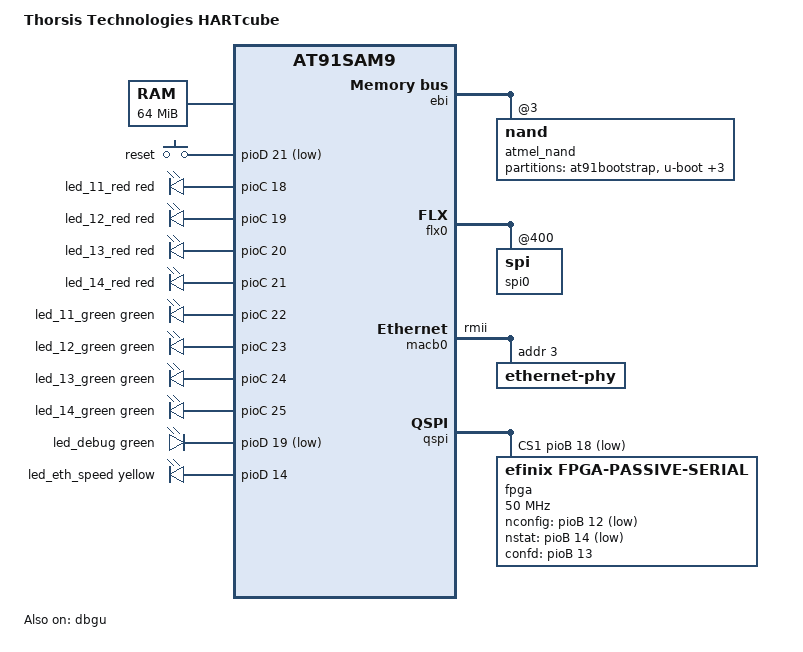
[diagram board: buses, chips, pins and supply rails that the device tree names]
/*
 * at91-hartcube.dts - Device Tree file for Thorsis Technologies HARTcube board
 *
 * © 2024 Thorsis Technologies GmbH
 */
/dts-v1/;
#include <dt-bindings/input/input.h>
#include <dt-bindings/leds/common.h>
#include <dt-bindings/mfd/atmel-flexcom.h>
#include <dt-bindings/pinctrl/at91.h>
#include <efinix.h>
#include "sam9x60.dtsi"

/ {
	model = "Thorsis Technologies HARTcube";
	compatible = "thorsis,hartcube", "microchip,sam9x60", "atmel,at91sam9";

	aliases {
		spi0 = &spi0;
		spi1 = &qspi;
	};

	chosen {
		stdout-path = &dbgu;
	};

	memory {
		reg = <0x20000000 0x04000000>;
	};

	clocks {
		slow_xtal: slow_xtal {
			clock-frequency = <32768>;
		};

		main_xtal: main_xtal {
			clock-frequency = <24000000>;
		};
	};

	gpio-keys {
		compatible = "gpio-keys";
		status = "okay";

		pinctrl-names = "default";
		pinctrl-0 = <&pinctrl_key_gpio_default>;

		reset {
			label = "reset";
			gpios = <&pioD 21 GPIO_ACTIVE_LOW>;
			linux,code = <KEY_RESTART>;
			debounce-interval = <60>;
		};
	};

	led-controller-0 {
		compatible = "gpio-leds";
		status = "okay";

		pinctrl-names = "default";
		pinctrl-0 = <&pinctrl_gpio_leds>;

		/*
		 * Four dual color (red/green) LEDs.
		 *
		 * NOTE	If you switch ON both colors of the same LED,
		 *	it will go off. We're just misusing the
		 *	gpio-leds driver here for simplicity.
		 */

		/*
		 * (this led could use pwm, but we use it as simple gpio-led in u-boot only.)
		 */
		led_11_red: led-0 {
			function = LED_FUNCTION_STATUS;
			color = <LED_COLOR_ID_RED>;
			gpios = <&pioC 18 GPIO_ACTIVE_HIGH>;
		};

		/*
		 * (this led could use pwm, but we use it as simple gpio-led in u-boot only.)
		 */
		led_12_red: led-1 {
			color = <LED_COLOR_ID_RED>;
			gpios = <&pioC 19 GPIO_ACTIVE_HIGH>;
		};

		/*
		 * (this led could use pwm, but we use it as simple gpio-led in u-boot only.)
		 */
		led_13_red: led-2 {
			color = <LED_COLOR_ID_RED>;
			gpios = <&pioC 20 GPIO_ACTIVE_HIGH>;
		};

		/*
		 * (this led could use pwm, but we use it as simple gpio-led in u-boot only.)
		 */
		led_14_red: led-3 {
			color = <LED_COLOR_ID_RED>;
			gpios = <&pioC 21 GPIO_ACTIVE_HIGH>;
		};

		led_11_green: led-4 {
			function = LED_FUNCTION_STATUS;
			color = <LED_COLOR_ID_GREEN>;
			gpios = <&pioC 22 GPIO_ACTIVE_HIGH>;
		};

		led_12_green: led-5 {
			color = <LED_COLOR_ID_GREEN>;
			gpios = <&pioC 23 GPIO_ACTIVE_HIGH>;
		};

		led_13_green: led-6 {
			color = <LED_COLOR_ID_GREEN>;
			gpios = <&pioC 24 GPIO_ACTIVE_HIGH>;
		};

		led_14_green: led-7 {
			color = <LED_COLOR_ID_GREEN>;
			gpios = <&pioC 25 GPIO_ACTIVE_HIGH>;
		};

		/*
		 * maybe not populated on PCB
		 */
		led_debug: led-8 {
			color = <LED_COLOR_ID_GREEN>;
			function = LED_FUNCTION_DEBUG;
			gpios = <&pioD 19 GPIO_ACTIVE_LOW>;
			default-state = "keep";
		};

		led_eth_speed: led-9 {
			color = <LED_COLOR_ID_YELLOW>;
			function = LED_FUNCTION_LAN;
			gpios = <&pioD 14 GPIO_ACTIVE_HIGH>;
			linux,default-trigger = "netdev";
		};
	};

	spi_gpio_flx0: spi-gpio-0 {
		pinctrl-names = "default";
		pinctrl-0 = <&pinctrl_flx0_gpio>;
		status = "disabled";

		compatible = "spi-gpio";
		#address-cells = <1>;
		#size-cells = <0>;

		sck-gpios = <&pioA 4 GPIO_ACTIVE_HIGH>;
		mosi-gpios = <&pioA 1 GPIO_ACTIVE_HIGH>;
		miso-gpios = <&pioA 0 GPIO_ACTIVE_HIGH>;
		cs-gpios = <&pioA 3 GPIO_ACTIVE_LOW>;
		num-cs = <1>;

		flash@0 {
			compatible = "jedec,spi-nor";
			reg = <0>;
			spi-max-frequency = <50000000>;
			spi-tx-bus-width = <1>;
			spi-rx-bus-width = <1>;
			m25p,fast-read;
		};
	};

	spi_gpio_qspi: spi-gpio-1 {
		pinctrl-names = "default";
		pinctrl-0 = <&pinctrl_qspi_gpio>;
		status = "disabled";

		compatible = "spi-gpio";
		#address-cells = <1>;
		#size-cells = <0>;

		sck-gpios = <&pioB 19 GPIO_ACTIVE_HIGH>;
		mosi-gpios = <&pioB 21 GPIO_ACTIVE_HIGH>;
		miso-gpios = <&pioB 22 GPIO_ACTIVE_HIGH>;
		cs-gpios = <&pioB 20 GPIO_ACTIVE_LOW>, <&pioB 18 GPIO_ACTIVE_LOW>;
		num-cs = <2>;

		fpga@0 {
			compatible = "thorsis,fpga-hcb";
			reg = <0>;
			status = "disabled";

			spi-max-frequency = <1000000>;
			spi-cs-setup-delay-ns = <500>;		// halbe Taktperiode
			spi-cs-inactive-delay-ns = <1000>;	// ganze Taktperiode
			spi-tx-bus-width = <1>;
			spi-rx-bus-width = <1>;
		};

		fpga@1 {
			pinctrl-names = "default";
			pinctrl-0 = <&pinctrl_fpga>;
			status = "okay";

			compatible = "efinix,fpga-passive-serial";
			reg = <1>;

			spi-max-frequency = <50000000>;
			spi-cpha;
			spi-cpol;
			nconfig-gpios = <&pioB 12 GPIO_ACTIVE_LOW>;
			nstat-gpios = <&pioB 14 GPIO_ACTIVE_LOW>;
			confd-gpios = <&pioB 13 GPIO_ACTIVE_HIGH>;
			altr,size = <EFINIX_TRION_T20Q144_SIZE>;
		};
	};
};

&dbgu {
	pinctrl-names = "default";
	pinctrl-0 = <&pinctrl_dbgu>;
	status = "okay"; /* Conflict with can0. */
};

&ebi {
	pinctrl-names = "default";
	pinctrl-0 = <&pinctrl_ebi_addr_nand &pinctrl_ebi_data_0_7>;
	status = "okay";

	nand_controller: nand-controller {
		pinctrl-names = "default";
		pinctrl-0 = <&pinctrl_nand_oe_we &pinctrl_nand_cs &pinctrl_nand_rb>;
		status = "okay";

		nand@3 {
			reg = <0x3 0x0 0x800000>;
			// workaround, use "soft wait" for now
			// rb-gpios = <&pioD 5 GPIO_ACTIVE_HIGH>;
			cs-gpios = <&pioD 4 GPIO_ACTIVE_HIGH>;
			nand-bus-width = <8>;
			nand-ecc-mode = "hw";
			nand-ecc-strength = <8>;
			nand-ecc-step-size = <512>;
			nand-on-flash-bbt;
			label = "atmel_nand";

			partitions {
				compatible = "fixed-partitions";
				#address-cells = <1>;
				#size-cells = <1>;

				/* 256 kiB */
				at91bootstrap@0 {
					label = "at91bootstrap";
					reg = <0x0 0x40000>;
				};

				/* 1 MiB */
				uboot@40000 {
					label = "u-boot";
					reg = <0x40000 0x100000>;
				};

				/* 256 kiB */
				ubootenv@140000 {
					label = "U-Boot Env";
					reg = <0x140000 0x40000>;
				};

				/* 256 kiB */
				ubootenvred@180000 {
					label = "U-Boot Env Redundant";
					reg = <0x180000 0x40000>;
				};

				/* reserved: 0x001c0000-0x00200000 (256 kiB) */

				/*
				 * 253 MiB.  Starts at offset 2 MiB after
				 * bootstrap, U-Boot and Env, and ends 1 MiB
				 * before end, leaving space for BBT.
				 */
				ubi@200000 {
					label = "UBI";
					reg = <0x200000 0xfd00000>;
				};

				/* reserved: 0x0ff00000-0x0ff80000 (512 kiB) */

				/* BBT: 0x0ff80000-0x10000000 (512 kiB) */
			};
		};
	};
};

&flx0 {
	status = "okay";
	atmel,flexcom-mode = <ATMEL_FLEXCOM_MODE_SPI>;
	pinctrl-names = "default";
	pinctrl-0 = <&pinctrl_flx0_default>;
	status = "okay";

	spi0: spi@400 {
		#address-cells = <1>;
		#size-cells = <0>;
		status = "okay";

		flash@0 {
			compatible = "jedec,spi-nor";
			reg = <0>;
			spi-max-frequency = <50000000>;
			m25p,fast-read;
		};
	};
};

&macb0 {
	phy-mode = "rmii";
	#address-cells = <1>;
	#size-cells = <0>;
	pinctrl-names = "default";
	pinctrl-0 = <&pinctrl_macb0_rmii>;
	status = "okay";

	/* pull-up on pin 15, phyad[1:0] is 3h.
	 * pull-down on pin 16, phyad[2] is 0h. */
	ethernet-phy@3 {
		reg = <3>;
	};
};

&pinctrl {
	dbgu {
		pinctrl_dbgu: dbgu-0 {
			atmel,pins = <AT91_PIOA 9 AT91_PERIPH_A AT91_PINCTRL_PULL_UP
				      AT91_PIOA 10 AT91_PERIPH_A AT91_PINCTRL_NONE>;
		};
	};

	ebi {
		pinctrl_ebi_data_0_7: ebi-data-lsb-0 {
			atmel,pins =
				<AT91_PIOD 6 AT91_PERIPH_A (AT91_PINCTRL_NONE | AT91_PINCTRL_SLEWRATE_DIS)
				 AT91_PIOD 7 AT91_PERIPH_A (AT91_PINCTRL_NONE | AT91_PINCTRL_SLEWRATE_DIS)
				 AT91_PIOD 8 AT91_PERIPH_A (AT91_PINCTRL_NONE | AT91_PINCTRL_SLEWRATE_DIS)
				 AT91_PIOD 9 AT91_PERIPH_A (AT91_PINCTRL_NONE | AT91_PINCTRL_SLEWRATE_DIS)
				 AT91_PIOD 10 AT91_PERIPH_A (AT91_PINCTRL_NONE | AT91_PINCTRL_SLEWRATE_DIS)
				 AT91_PIOD 11 AT91_PERIPH_A (AT91_PINCTRL_NONE | AT91_PINCTRL_SLEWRATE_DIS)
				 AT91_PIOD 12 AT91_PERIPH_A (AT91_PINCTRL_NONE | AT91_PINCTRL_SLEWRATE_DIS)
				 AT91_PIOD 13 AT91_PERIPH_A (AT91_PINCTRL_NONE | AT91_PINCTRL_SLEWRATE_DIS)>;
		};

		pinctrl_ebi_addr_nand: ebi-addr-0 {
			atmel,pins =
				<AT91_PIOD 2 AT91_PERIPH_A (AT91_PINCTRL_NONE | AT91_PINCTRL_SLEWRATE_DIS)
				 AT91_PIOD 3 AT91_PERIPH_A (AT91_PINCTRL_NONE | AT91_PINCTRL_SLEWRATE_DIS)>;
		};
	};

	flexcom {
		pinctrl_flx0_default: flx0-spi {
			atmel,pins =
				<AT91_PIOA 0 AT91_PERIPH_A AT91_PINCTRL_SLEWRATE_DIS	/* MOSI */
				 AT91_PIOA 1 AT91_PERIPH_A AT91_PINCTRL_SLEWRATE_DIS	/* MISO */
				 AT91_PIOA 3 AT91_PERIPH_A AT91_PINCTRL_SLEWRATE_DIS	/* NPCS0 */
				 AT91_PIOA 4 AT91_PERIPH_A AT91_PINCTRL_SLEWRATE_DIS>;	/* SPCK */
		};

		pinctrl_flx0_gpio: spi-gpio-0 {
			atmel,pins =
				<AT91_PIOA 0 AT91_PERIPH_GPIO AT91_PINCTRL_SLEWRATE_DIS		/* MISO */
				 AT91_PIOA 1 AT91_PERIPH_GPIO AT91_PINCTRL_SLEWRATE_DIS		/* MOSI */
				 AT91_PIOA 3 AT91_PERIPH_GPIO AT91_PINCTRL_SLEWRATE_DIS		/* NPCS0 */
				 AT91_PIOA 4 AT91_PERIPH_GPIO AT91_PINCTRL_SLEWRATE_DIS>;	/* SPCK */
		};
	};

	fpga {
		pinctrl_fpga: fpga-gpios {
			atmel,pins = <AT91_PIOB 12 AT91_PERIPH_GPIO AT91_PINCTRL_OUTPUT		/* nCONFIG     */
				      AT91_PIOB 13 AT91_PERIPH_GPIO AT91_PINCTRL_NONE		/* CONF_DONE   */
				      AT91_PIOB 14 AT91_PERIPH_GPIO AT91_PINCTRL_NONE		/* nSTATUS     */
				      AT91_PIOB 15 AT91_PERIPH_GPIO AT91_PINCTRL_OUTPUT>;	/* nFPGA_RESET */
		};
	};

	gpio-keys {
		pinctrl_key_gpio_default: pinctrl-key-gpio {
			atmel,pins = <AT91_PIOD 21 AT91_PERIPH_GPIO AT91_PINCTRL_NONE>;
		};
	};

	leds {
		pinctrl_gpio_leds: gpio-leds {
			atmel,pins = <AT91_PIOC 18 AT91_PERIPH_GPIO AT91_PINCTRL_OUTPUT
				      AT91_PIOC 19 AT91_PERIPH_GPIO AT91_PINCTRL_OUTPUT
				      AT91_PIOC 20 AT91_PERIPH_GPIO AT91_PINCTRL_OUTPUT
				      AT91_PIOC 21 AT91_PERIPH_GPIO AT91_PINCTRL_OUTPUT
				      AT91_PIOC 22 AT91_PERIPH_GPIO AT91_PINCTRL_OUTPUT
				      AT91_PIOC 23 AT91_PERIPH_GPIO AT91_PINCTRL_OUTPUT
				      AT91_PIOC 24 AT91_PERIPH_GPIO AT91_PINCTRL_OUTPUT
				      AT91_PIOC 25 AT91_PERIPH_GPIO AT91_PINCTRL_OUTPUT
				      AT91_PIOD 14 AT91_PERIPH_GPIO AT91_PINCTRL_OUTPUT
				      AT91_PIOD 19 AT91_PERIPH_GPIO AT91_PINCTRL_OUTPUT>;
		};
	};

	/* U-Boot has pinctrl_macb0_rmii in sam9x60.dtsi … o.O */

	nand {
		pinctrl_nand_oe_we: nand-oe-we-0 {
			atmel,pins =
				<AT91_PIOD 0 AT91_PERIPH_A (AT91_PINCTRL_NONE | AT91_PINCTRL_SLEWRATE_DIS)
				 AT91_PIOD 1 AT91_PERIPH_A (AT91_PINCTRL_NONE | AT91_PINCTRL_SLEWRATE_DIS)>;
		};

		pinctrl_nand_rb: nand-rb-0 {
			atmel,pins =
				<AT91_PIOD 5 AT91_PERIPH_GPIO AT91_PINCTRL_PULL_UP>;
		};

		pinctrl_nand_cs: nand-cs-0 {
			atmel,pins =
				<AT91_PIOD 4 AT91_PERIPH_GPIO (AT91_PINCTRL_PULL_UP | AT91_PINCTRL_OUTPUT)>;
		};
	};

	qspi {
		pinctrl_qspi_default: qspi {
			atmel,pins =
				<AT91_PIOB 18 AT91_PERIPH_GPIO AT91_PINCTRL_OUTPUT /* CSI_O */
				 AT91_PIOB 19 AT91_PERIPH_A AT91_PINCTRL_SLEWRATE_DIS
				 AT91_PIOB 20 AT91_PERIPH_GPIO AT91_PINCTRL_OUTPUT
				 AT91_PIOB 21 AT91_PERIPH_A AT91_PINCTRL_SLEWRATE_DIS
				 AT91_PIOB 22 AT91_PERIPH_A AT91_PINCTRL_SLEWRATE_DIS
				 AT91_PIOB 23 AT91_PERIPH_A AT91_PINCTRL_SLEWRATE_DIS
				 AT91_PIOB 24 AT91_PERIPH_A AT91_PINCTRL_SLEWRATE_DIS>;
		};

		pinctrl_qspi_gpio: spi-gpio-1 {
			atmel,pins =
				<AT91_PIOB 18 AT91_PERIPH_GPIO AT91_PINCTRL_OUTPUT /* CSI_O */
				 AT91_PIOB 19 AT91_PERIPH_GPIO AT91_PINCTRL_OUTPUT /* DCLK  */
				 AT91_PIOB 20 AT91_PERIPH_GPIO AT91_PINCTRL_OUTPUT /* NCS   */
				 AT91_PIOB 21 AT91_PERIPH_GPIO AT91_PINCTRL_OUTPUT /* MOSI  */
				 AT91_PIOB 22 AT91_PERIPH_GPIO AT91_PINCTRL_NONE   /* ASD0  */
				 AT91_PIOB 23 AT91_PERIPH_GPIO AT91_PINCTRL_NONE
				 AT91_PIOB 24 AT91_PERIPH_GPIO AT91_PINCTRL_NONE>;
		};
	};
};

/* HW v1.6 */

&pioA {
	gpio-line-names = "MOSI",		/* PA0  */
			  "MISO",		/* PA1  */
			  "",			/* PA2  */
			  "NPCS0",		/* PA3  */
			  "SPCK",		/* PA4  */
			  "",			/* PA5  */
			  "",			/* PA6  */
			  "",			/* PA7  */
			  "",			/* PA8  */
			  "DRXD",		/* PA9  */
			  "DTXD",		/* PA10 */
			  "",			/* PA11 */
			  "",			/* PA12 */
			  "",			/* PA13 */
			  "",			/* PA14 */
			  "",			/* PA15 */
			  "",			/* PA16 */
			  "",			/* PA17 */
			  "",			/* PA18 */
			  "",			/* PA19 */
			  "",			/* PA20 */
			  "",			/* PA21 */
			  "",			/* PA22 */
			  "",			/* PA23 */
			  "",			/* PA24 */
			  "",			/* PA25 */
			  "",			/* PA26 */
			  "USBA_VBUS",		/* PA27 */
			  "",			/* PA28 */
			  "",			/* PA29 */
			  "",			/* PA30 */
			  "";			/* PA31 */
};

&pioB {
	gpio-line-names = "ETH0_RX0",		/* PB0  */
			  "ETH0_RX1",		/* PB1  */
			  "ETH0_RXER",		/* PB2  */
			  "ETH0_RXDV",		/* PB3  */
			  "ETH0_TXCK",		/* PB4  */
			  "ETH0_MDIO",		/* PB5  */
			  "ETH0_MDC",		/* PB6  */
			  "ETH0_TXEN",		/* PB7  */
			  "ETH0_IRQ",		/* PB8  */
			  "ETH0_TX0",		/* PB9  */
			  "ETH0_TX1",		/* PB10 */
			  "",			/* PB11 */
			  "nCONFIG",		/* PB12 */
			  "CONF_DONE",		/* PB13 */
			  "nSTATUS",		/* PB14 */
			  "nFPGA_RES",		/* PB15 */
			  "",			/* PB16 */
			  "",			/* PB17 */
			  "CSI_O",		/* PB18 */
			  "SCK",		/* PB19 */
			  "NCS",		/* PB20 */
			  "SIO0",		/* PB21 */
			  "SIO1",		/* PB22 */
			  "SIO2",		/* PB23 */
			  "SIO3",		/* PB24 */
			  "";			/* PB25 */
};

&pioC {
	gpio-line-names = "",			/* PC0  */
			  "",			/* PC1  */
			  "",			/* PC2  */
			  "",			/* PC3  */
			  "",			/* PC4  */
			  "",			/* PC5  */
			  "",			/* PC6  */
			  "",			/* PC7  */
			  "",			/* PC8  */
			  "",			/* PC9  */
			  "",			/* PC10 */
			  "",			/* PC11 */
			  "",			/* PC12 */
			  "",			/* PC13 */
			  "",			/* PC14 */
			  "",			/* PC15 */
			  "",			/* PC16 */
			  "",			/* PC17 */
			  "LEDA0",		/* PC18 */
			  "LEDA1",		/* PC19 */
			  "LEDA2",		/* PC20 */
			  "LEDA3",		/* PC21 */
			  "LEDK0",		/* PC22 */
			  "LEDK1",		/* PC23 */
			  "LEDK2",		/* PC24 */
			  "LEDK3",		/* PC25 */
			  "",			/* PC26 */
			  "",			/* PC27 */
			  "",			/* PC30 */
			  "";			/* PC31 */
};

&pioD {
	gpio-line-names = "NAND_RE",		/* PD0  */
			  "NAND_WE",		/* PD1  */
			  "NAND_ALE",		/* PD2  */
			  "NAND_CLE",		/* PD3  */
			  "NAND_NCS",		/* PD4  */
			  "NAND_RDY",		/* PD5  */
			  "NAND_D0",		/* PD6  */
			  "NAND_D1",		/* PD7  */
			  "NAND_D2",		/* PD8  */
			  "NAND_D3",		/* PD9  */
			  "NAND_D4",		/* PD10 */
			  "NAND_D5",		/* PD11 */
			  "NAND_D6",		/* PD12 */
			  "NAND_D7",		/* PD13 */
			  "ETH_LEDSPEED",	/* PD14 */
			  "",			/* PD15 */
			  "",			/* PD16 */
			  "",			/* PD17 */
			  "",			/* PD18 */
			  "LED9",		/* PD19 */
			  "",			/* PD20 */
			  "FACTORY_RESET";	/* PD21 */
};

// ~781 kHz to 200 MHz
&qspi {
	pinctrl-names = "default";
	pinctrl-0 = <&pinctrl_qspi_default>;
	status = "okay";

	cs-gpios = <&pioB 20 GPIO_ACTIVE_LOW>, <&pioB 18 GPIO_ACTIVE_LOW>;
	num-cs = <2>;

	fpga@0 {
		compatible = "thorsis,fpga-hcb";
		reg = <0>;
		status = "disabled";

		spi-max-frequency = <20000000>;		// 16 MHz tested by jbe
		spi-cs-setup-delay-ns = <25>;		// halbe Taktperiode
		spi-cs-inactive-delay-ns = <50>;	// ganze Taktperiode

		spi-tx-bus-width = <4>;
		spi-rx-bus-width = <4>;
	};

	fpga@1 {
		pinctrl-names = "default";
		pinctrl-0 = <&pinctrl_fpga>;
		status = "okay";

		compatible = "efinix,fpga-passive-serial";
		reg = <1>;

		spi-max-frequency = <50000000>;
		spi-cpha;
		spi-cpol;
		nconfig-gpios = <&pioB 12 GPIO_ACTIVE_LOW>;
		nstat-gpios = <&pioB 14 GPIO_ACTIVE_LOW>;
		confd-gpios = <&pioB 13 GPIO_ACTIVE_HIGH>;
		altr,size = <EFINIX_TRION_T20Q144_SIZE>;
	};
};

/* vim: set noet sts=0 ts=8 sw=8 sr: */
